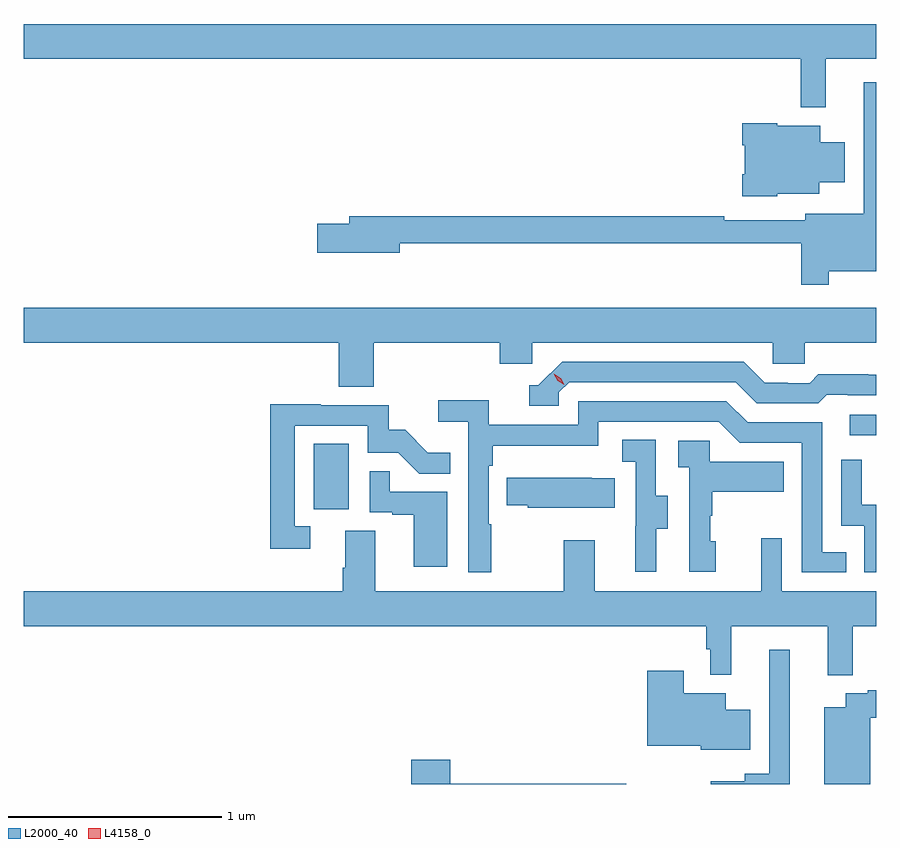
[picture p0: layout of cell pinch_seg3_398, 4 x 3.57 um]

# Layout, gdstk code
import gdstk
lib = gdstk.Library(unit=1e-6, precision=1e-09)
def R(c, l, rs):  # rectangles x0, y0, x1, y1
    for r in rs: c.add(gdstk.rectangle(r[:2], r[2:], *l))
def P(c, l, *ps):  # polygons
    for p in ps: c.add(gdstk.Polygon(p, *l))
L2000_40 = (2000, 40)
L4158_0 = (4158, 0)

pinch_seg3_398 = lib.new_cell('pinch_seg3_398')
R(pinch_seg3_398, L2000_40, [(924.782,689.478,924.946,689.785), (927.297,689.826,927.421,689.922)])
P(pinch_seg3_398, L2000_40, [(927.185,691.592),(927.421,691.592),(927.421,691.756),(923.421,691.756),(923.421,691.592),(927.067,691.592),(927.067,691.364),(927.185,691.364)],
  [(927.199,690.596),(927.421,690.596),(927.421,691.483),(927.363,691.483),(927.363,690.865),(927.089,690.865),(927.089,690.834),(926.708,690.834),(926.708,690.854),(924.947,690.854),(924.947,690.818),(924.798,690.818),(924.798,690.683),(925.186,690.683),(925.186,690.726),(927.07,690.726),(927.07,690.531),(927.199,690.531)],
  [(926.958,690.959),(927.154,690.959),(927.154,691.013),(927.274,691.013),(927.274,691.201),(927.16,691.201),(927.16,691.279),(926.958,691.279),(926.958,691.291),(926.792,691.291),(926.792,691.187),(926.804,691.187),(926.804,691.051),(926.792,691.051),(926.792,690.947),(926.958,690.947)],
  [(925.064,690.26),(925.655,690.26),(925.655,690.162),(925.806,690.162),(925.806,690.26),(926.937,690.26),(926.937,690.162),(927.087,690.162),(927.087,690.26),(927.421,690.26),(927.421,690.424),(923.421,690.424),(923.421,690.26),(924.899,690.26),(924.899,690.052),(925.064,690.052)],
  [(925.932,690.027),(925.98,690.075),(926.763,690.075),(926.862,689.976),(927.151,689.976),(927.19,690.015),(927.289,690.015),(927.289,690.012),(927.421,690.012),(927.421,690.109),(927.384,690.109),(927.384,690.112),(927.151,690.112),(927.109,690.069),(927.006,690.069),(927.006,690.072),(926.899,690.072),(926.8,690.171),(925.947,690.171),(925.836,690.06),(925.793,690.06),(925.793,689.964),(925.932,689.964)],
  [(925.615,689.408),(925.602,689.408),(925.602,689.681),(925.622,689.681),(925.622,689.777),(926.118,689.777),(926.118,689.889),(926.682,689.889),(926.781,689.79),(927.072,689.79),(927.072,689.181),(927.281,689.181),(927.281,689.277),(927.168,689.277),(927.168,689.886),(926.818,689.886),(926.719,689.985),(926.022,689.985),(926.022,689.874),(925.604,689.874),(925.604,689.99),(925.365,689.99),(925.365,689.888),(925.506,689.888),(925.506,689.181),(925.615,689.181)],
  [(924.766,689.397),(924.693,689.397),(924.693,689.871),(925.035,689.871),(925.035,689.742),(925.179,689.742),(925.277,689.644),(925.421,689.644),(925.421,689.743),(925.317,689.743),(925.21,689.85),(925.134,689.85),(925.134,689.967),(924.815,689.967),(924.815,689.972),(924.577,689.972),(924.577,689.292),(924.766,689.292)],
  [(926.389,689.386),(926.443,689.386),(926.443,689.541),(926.388,689.541),(926.388,689.804),(926.229,689.804),(926.229,689.701),(926.292,689.701),(926.292,689.397),(926.291,689.397),(926.291,689.184),(926.389,689.184)],
  [(926.668,689.328),(926.643,689.328),(926.643,689.447),(926.653,689.447),(926.653,689.561),(926.987,689.561),(926.987,689.701),(926.64,689.701),(926.64,689.799),(926.493,689.799),(926.493,689.675),(926.544,689.675),(926.544,689.184),(926.668,689.184)],
  [(927.421,689.498),(927.354,689.498),(927.354,689.71),(927.258,689.71),(927.258,689.4),(927.366,689.4),(927.366,689.181),(927.421,689.181)],
  [(925.408,689.559),(925.139,689.559),(925.139,689.657),(925.044,689.657),(925.044,689.463),(925.151,689.463),(925.151,689.451),(925.25,689.451),(925.25,689.208),(925.408,689.208)],
  [(926.195,689.623),(926.087,689.623),(926.087,689.626),(925.687,689.626),(925.687,689.497),(925.785,689.497),(925.785,689.486),(926.195,689.486)],
  [(927.311,688.928),(927.421,688.928),(927.421,689.092),(926.979,689.092),(926.979,689.341),(926.882,689.341),(926.882,689.092),(926.101,689.092),(926.101,689.332),(925.954,689.332),(925.954,689.092),(925.069,689.092),(925.069,689.378),(924.929,689.378),(924.929,689.204),(924.917,689.204),(924.917,689.092),(923.421,689.092),(923.421,688.928),(926.623,688.928),(926.623,688.821),(926.643,688.821),(926.643,688.7),(926.741,688.7),(926.741,688.928),(927.194,688.928),(927.194,688.699),(927.311,688.699)],
  [(927.016,688.819),(926.919,688.819),(926.919,688.237),(926.804,688.237),(926.804,688.201),(926.645,688.201),(926.645,688.188),(927.016,688.188)],
  [(926.83,688.537),(926.716,688.537),(926.716,688.615),(926.518,688.615),(926.518,688.72),(926.348,688.72),(926.348,688.367),(926.598,688.367),(926.598,688.349),(926.83,688.349)],
  [(927.394,688.498),(927.421,688.498),(927.421,688.627),(927.382,688.627),(927.382,688.614),(927.278,688.614),(927.278,688.549),(927.179,688.549),(927.179,688.188),(927.394,688.188)],
  [(926.249,688.19),(925.421,688.19),(925.421,688.303),(925.238,688.303),(925.238,688.188),(926.249,688.188)])
P(pinch_seg3_398, L4158_0, [(925.957,690.062),(925.926,690.081),(925.909,690.113),(925.909,690.114),(925.909,690.114),(925.94,690.094),(925.957,690.062),(925.957,690.062)])

lib.write_gds('pinch_seg3_398.gds')
